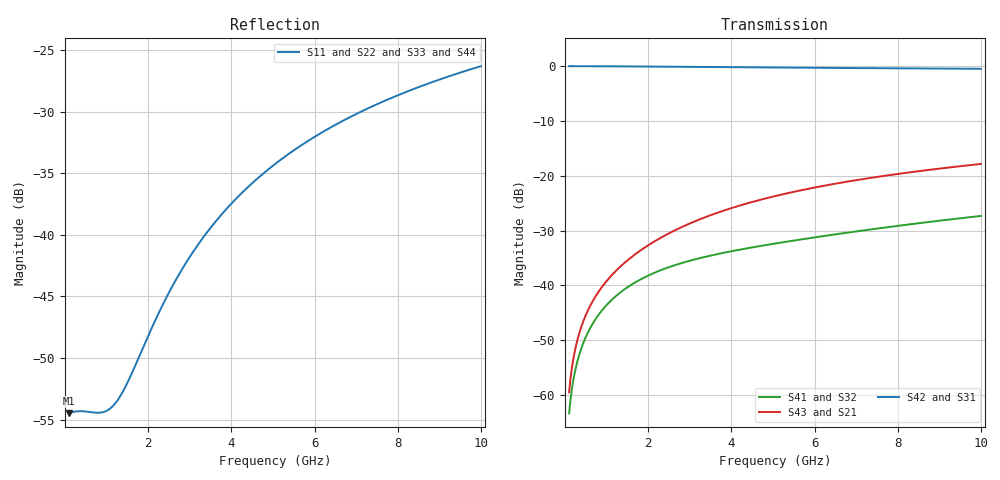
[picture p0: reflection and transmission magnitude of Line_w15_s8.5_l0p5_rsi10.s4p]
! TOUCHSTONE file generated by CST MICROWAVE STUDIO
! Date and time: Wed Oct 15 13:32:36 2014
! Project name: Untitled_1.cst
# GHZ S MA R 50
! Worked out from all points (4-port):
!   1001 points, 100 MHz to 10 GHz, reference 50 ohm
!   strongest paths, dB at 100 MHz, 2.575 GHz, 5.05 GHz, 7.525 GHz, 10 GHz:
!     S42: 0.0, -0.1, -0.3, -0.4, -0.5
!     S31: 0.0, -0.1, -0.3, -0.4, -0.5
!     S43: -59.5, -30.2, -23.7, -20.2, -17.8
!     S21: -59.5, -30.2, -23.7, -20.2, -17.8
!     S41: -63.3, -36.5, -32.4, -29.6, -27.3
!     S32: -63.3, -36.5, -32.4, -29.6, -27.3
!   lowest |S11| = -54.5 dB at 100 MHz (marker M1), VSWR 1.00, Z = 50.2 - j0.0168 ohm
!   |S11| at or under -10 dB: start of sweep to end of sweep
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0.1  0.001888 -5.1  0.001062 90.3  0.9981 -0.2  0.0006821 -91.0
     0.001062 90.3  0.001888 -5.1  0.0006821 -91.0  0.9981 -0.2
     0.9981 -0.2  0.0006821 -91.0  0.001888 -5.1  0.001062 90.3
     0.0006821 -91.0  0.9981 -0.2  0.001062 90.3  0.001888 -5.1
0.3475  0.001926 -21.1  0.003701 91.5  0.9977 -0.8  0.002358 -93.7
        0.0037 91.5  0.001927 -21.1  0.002358 -93.7  0.9977 -0.8
        0.9977 -0.8  0.002358 -93.7  0.001926 -21.1  0.003701 91.5
        0.002358 -93.7  0.9977 -0.8  0.0037 91.5  0.001927 -21.1
0.7633  0.001899 -52.0  0.008256 92.6  0.9966 -1.7  0.005107 -97.6
        0.008256 92.6  0.001902 -52.0  0.005107 -97.6  0.9966 -1.7
        0.9966 -1.7  0.005107 -97.6  0.001899 -52.0  0.008256 92.6
        0.005107 -97.6  0.9966 -1.7  0.008255 92.6  0.001901 -52.0
1.3375  0.002228 -104.6  0.01492 93.3  0.994 -3.0  0.008662 -102.4
        0.01492 93.3  0.002233 -104.4  0.008662 -102.4  0.994 -3.0
        0.994 -3.0  0.008662 -102.4  0.002229 -104.7  0.01492 93.3
        0.008662 -102.4  0.994 -3.0  0.01492 93.3  0.002233 -104.5
2.3968  0.005396 -167.2  0.02845 92.7  0.9876 -5.2  0.0142 -109.5
        0.02845 92.7  0.005386 -166.9  0.0142 -109.5  0.9876 -5.2
        0.9876 -5.2  0.0142 -109.5  0.005401 -167.2  0.02845 92.7
        0.0142 -109.5  0.9876 -5.2  0.02845 92.7  0.005395 -166.9
5.2183  0.02036 140.1  0.0675 85.1  0.9689 -10.3  0.02467 -116.5
        0.0675 85.1  0.02029 140.2  0.02467 -116.5  0.9689 -10.3
        0.9689 -10.3  0.02467 -116.5  0.02038 140.1  0.0675 85.1
        0.02467 -116.5  0.9689 -10.3  0.0675 85.1  0.02033 140.3
10  0.04835 104.5  0.1281 73.2  0.9447 -18.0  0.04299 -121.2
    0.1281 73.2  0.04818 104.6  0.04298 -121.2  0.9447 -18.0
    0.9447 -18.0  0.04298 -121.2  0.0484 104.6  0.1281 73.2
    0.04299 -121.2  0.9447 -18.0  0.1281 73.2  0.04827 104.7
